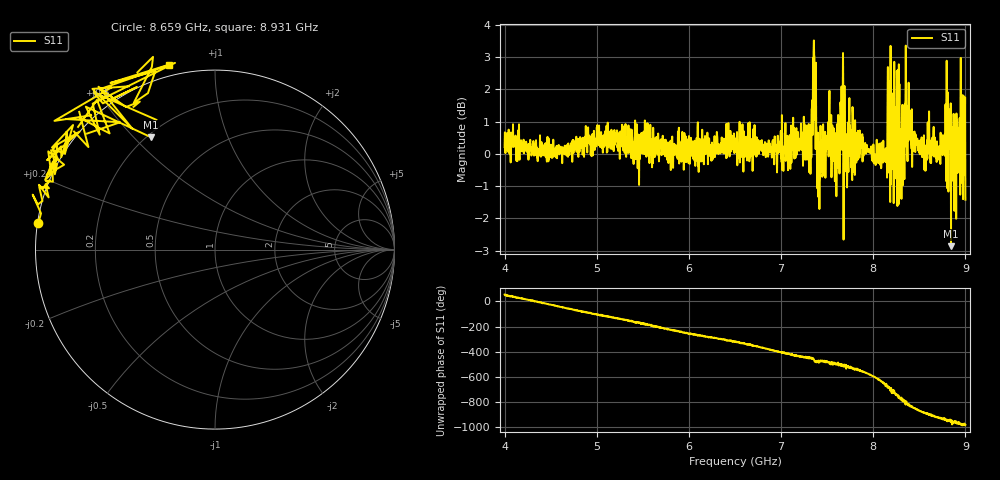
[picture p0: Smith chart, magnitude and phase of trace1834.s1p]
! Created with skrf 1.8.0 (http://scikit-rf.org).
# Hz S RI R 50.0
!freq ReS11 ImS11
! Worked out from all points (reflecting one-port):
!   1601 points, 4 GHz to 9 GHz, reference 50 ohm
!   lowest |S11| = -2.9 dB at 8.844 GHz (marker M1), VSWR 6.13, Z = 10.8 + j28.1 ohm
!   phase of S11 starts at 55 deg and turns -1037 deg over the sweep
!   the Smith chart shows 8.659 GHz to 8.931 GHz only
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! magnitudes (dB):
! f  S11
! 4 GHz  0.2
! 4.625 GHz  -0.3
! 5.25 GHz  -0.2
! 5.875 GHz  0.1
! 6.5 GHz  0.5
! 7.125 GHz  0.3
! 7.303 GHz  -0.6
! 7.356 GHz  3.5
! 7.412 GHz  -0.7
! 7.519 GHz  0.7
! 7.591 GHz  0.5
! 7.65 GHz  1.0
! 7.703 GHz  0.0
! 7.75 GHz  0.0
! 8.125 GHz  -0.1
! 8.178 GHz  2.3
! 8.188 GHz  3.3
! 8.259 GHz  2.0
! 8.312 GHz  1.3
! 8.334 GHz  0.8
! 8.375 GHz  0.8
! 8.431 GHz  0.1
! 8.556 GHz  -0.5
! 8.816 GHz  -1.2
! 8.844 GHz  -2.9
! 8.869 GHz  -0.8
! 8.972 GHz  0.8
! 9 GHz  -1.4
